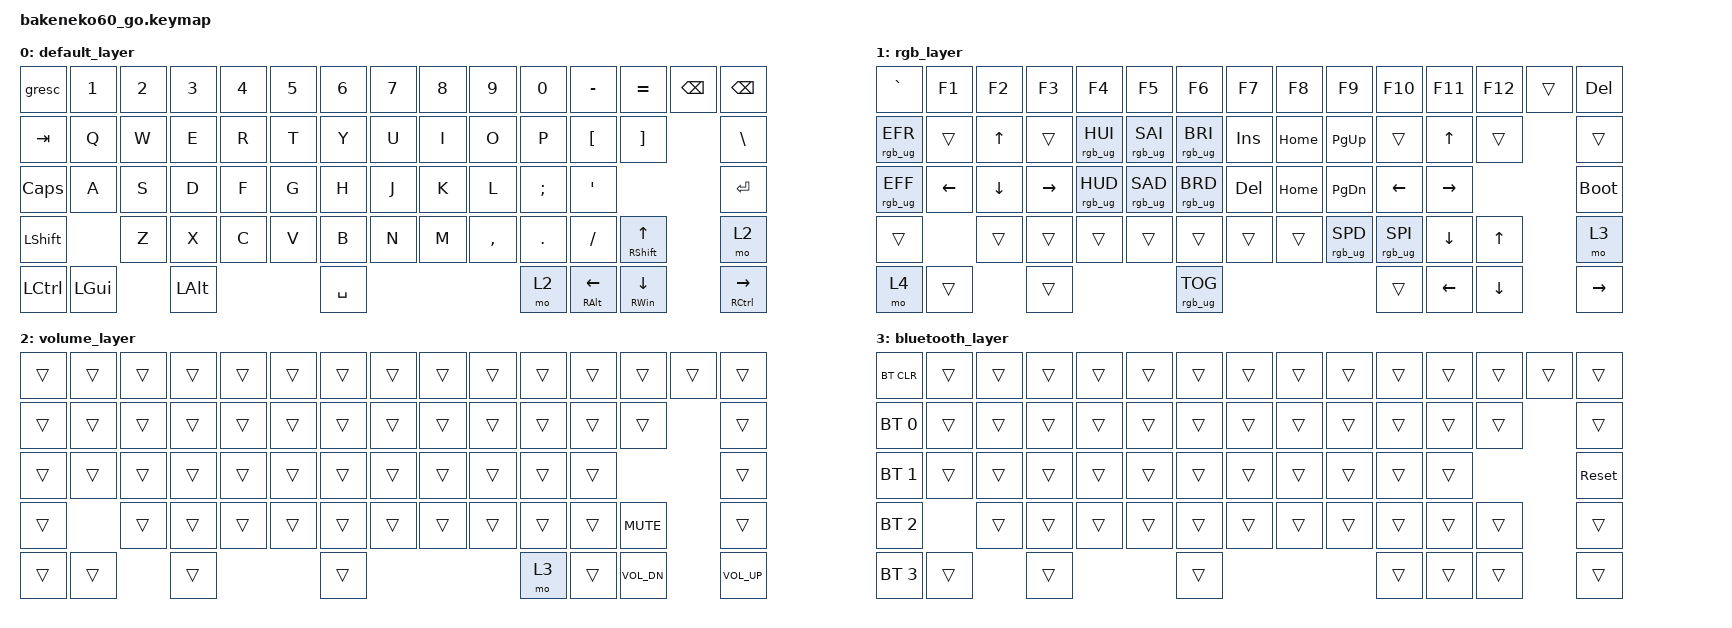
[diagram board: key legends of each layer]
/*
 * Copyright (c) 2023 Andrew Kannan
 *
 * SPDX-License-Identifier: MIT
 */

#include <behaviors.dtsi>
#include <dt-bindings/zmk/bt.h>
#include <dt-bindings/zmk/keys.h>
#include <dt-bindings/zmk/rgb.h>

/ {
    keymap {
        compatible = "zmk,keymap";

        default_layer {
            // ------------------------------------------------------------------------------------------
            // | ESC |  1  |  2  |  3  |  4  |  5  |  6  |  7  |  8  |  9  |  0  |  -  |  =  | BKSP|BKSP|
            // | TAB  |  Q  |  W  |  E  |  R  |  T  |  Y  |  U  |  I  |  O  |  P  |  [  |  ]  |   "|"   |
            // | CAPS  |  A  |  S  |  D  |  F  |  G  |  H  |  J  |  K  |  L  |  ;  |  '  |     ENTER    |
            // |  SHIFT  |  Z  |  X  |  C  |  V  |  B  |  N  |  M  |  ,  |  .  |  /  |  SHIFT  | MO(1)  |
            // |  CTL  |  WIN  |  ALT  |            SPACE              |  ALT  |  WIN  |  MO(1) |  CTL  |
            // ------------------------------------------------------------------------------------------

            bindings = <
&gresc     &kp N1    &kp N2  &kp N3    &kp N4  &kp N5  &kp N6     &kp N7  &kp N8  &kp N9     &kp N0    &kp MINUS           &kp EQUAL      &kp BSPC  &kp BSPC
&kp TAB    &kp Q     &kp W   &kp E     &kp R   &kp T   &kp Y      &kp U   &kp I   &kp O      &kp P     &kp LBKT            &kp RBKT                 &kp BSLH
&kp CLCK   &kp A     &kp S   &kp D     &kp F   &kp G   &kp H      &kp J   &kp K   &kp L      &kp SEMI  &kp SQT                                      &kp RET
&kp LSHFT            &kp Z   &kp X     &kp C   &kp V   &kp B      &kp N   &kp M   &kp COMMA  &kp DOT   &kp FSLH            &mt RSHFT UP             &mo 2
&kp LCTRL  &kp LGUI          &kp LALT                  &kp SPACE                             &mo 2     &mt RIGHT_ALT LEFT  &mt RWIN DOWN            &mt RIGHT_CONTROL RIGHT
            >;
        };

        rgb_layer {
            // ------------------------------------------------------------------------------------------------
            // |    `   | F1  | F2  | F3  | F4  | F5  | F6  | F7  | F8  | F9  | F10  | F11 | F12 |     | DEL  |
            // | EFCT REV|   |  UP |   | HUEUP | SATUP | BRIUP | SPDUP |      |  PGUP |    |     |    |       |
            // | EFCT FWD | LT |  DN  | RT | HUEDN | SATDN | BRIDN | SPDDN | HOME | PGDN | END  |  | BOOTLDR  |
            // |             |     |      |      |     |     |     |     |     |     |     |         |        |
            // |         |      |      |             TOG RGB                | PRT SCR |       |       |  MO(2)|
            // ------------------------------------------------------------------------------------------------

            bindings = <
&kp GRAVE        &kp F1    &kp F2    &kp F3     &kp F4           &kp F5           &kp F6           &kp F7      &kp F8    &kp F9           &kp F10          &kp F11          &kp F12   &trans  &kp DEL
&rgb_ug RGB_EFR  &trans    &kp UP    &trans     &rgb_ug RGB_HUI  &rgb_ug RGB_SAI  &rgb_ug RGB_BRI  &kp INS     &kp HOME  &kp PAGE_UP      &trans           &kp UP_ARROW     &trans            &trans
&rgb_ug RGB_EFF  &kp LEFT  &kp DOWN  &kp RIGHT  &rgb_ug RGB_HUD  &rgb_ug RGB_SAD  &rgb_ug RGB_BRD  &kp DELETE  &kp HOME  &kp PAGE_DOWN    &kp LEFT_ARROW   &kp RIGHT_ARROW                    &bootloader
&trans                     &trans    &trans     &trans           &trans           &trans           &trans      &trans    &rgb_ug RGB_SPD  &rgb_ug RGB_SPI  &kp DOWN_ARROW   &kp UP            &mo 3
&mo 4            &trans              &trans                                       &rgb_ug RGB_TOG                                         &trans           &kp LEFT         &kp DOWN          &kp RIGHT
            >;
        };

        volume_layer {
            bindings = <
&trans  &trans  &trans  &trans  &trans  &trans  &trans  &trans  &trans  &trans  &trans  &trans  &trans        &trans  &trans
&trans  &trans  &trans  &trans  &trans  &trans  &trans  &trans  &trans  &trans  &trans  &trans  &trans                &trans
&trans  &trans  &trans  &trans  &trans  &trans  &trans  &trans  &trans  &trans  &trans  &trans                        &trans
&trans          &trans  &trans  &trans  &trans  &trans  &trans  &trans  &trans  &trans  &trans  &kp C_MUTE            &trans
&trans  &trans          &trans                  &trans                          &mo 3   &trans  &kp C_VOL_DN          &kp C_VOLUME_UP
            >;
        };

        bluetooth_layer {
            // ------------------------------------------------------------------------------------------------
            // | BT CLR |     |     |     |     |     |     |     |     |     |     |    |    |       |       |
            // |  BT 1   |   |     |   |       |       |       |       |   |     |    |     |     |           |
            // |   BT 2   |    |      |    |       |       |       |       |      |      |      |  |   Reset  |
            // |    BT 3     |     |      |      |     |     |     |     |     |     |     |         |        |
            // |   BT 4  |      |      |                                    |         |       |       |       |
            // ------------------------------------------------------------------------------------------------

            bindings = <
&bt BT_CLR    &trans  &trans  &trans  &trans  &trans  &trans  &trans  &trans  &trans  &trans  &trans  &trans  &trans  &trans
&bt BT_SEL 0  &trans  &trans  &trans  &trans  &trans  &trans  &trans  &trans  &trans  &trans  &trans  &trans          &trans
&bt BT_SEL 1  &trans  &trans  &trans  &trans  &trans  &trans  &trans  &trans  &trans  &trans  &trans                  &sys_reset
&bt BT_SEL 2          &trans  &trans  &trans  &trans  &trans  &trans  &trans  &trans  &trans  &trans  &trans          &trans
&bt BT_SEL 3  &trans          &trans                  &trans                          &trans  &trans  &trans          &trans
            >;
        };
    };

    combos {
        compatible = "zmk,combos";

        combo_bt {
            timeout-ms = <50>;
            key-positions = <61 62>;
            bindings = <&mo 0>;
        };
    };

    conditional_layers {
        compatible = "zmk,conditional-layers";

        LayerCombo {
            if-layers = <2>;
            then-layer = <1>;
        };
    };
};
